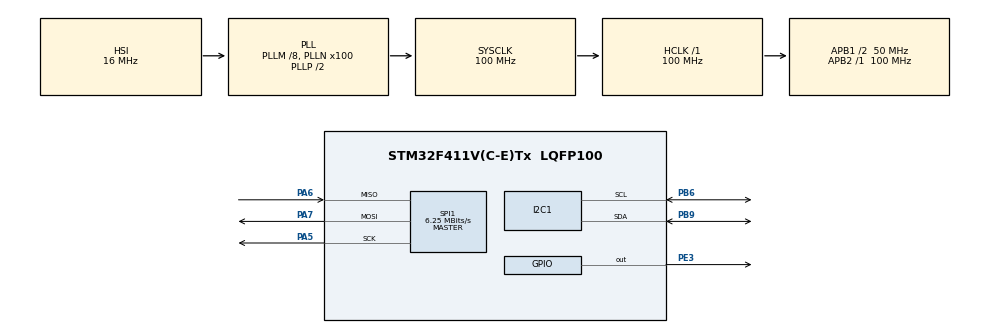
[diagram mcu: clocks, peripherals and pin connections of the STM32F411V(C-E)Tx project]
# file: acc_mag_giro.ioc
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Mcu.Family=STM32F4
Mcu.Name=STM32F411V(C-E)Tx
Mcu.Package=LQFP100
NVIC.I2C1_ER_IRQn=true\:2\:0\:true\:false\:true\:true
NVIC.I2C1_EV_IRQn=true\:2\:0\:true\:false\:true\:true
NVIC.PriorityGroup=NVIC_PRIORITYGROUP_4
NVIC.SPI1_IRQn=true\:1\:0\:true\:false\:true\:true
PA5.Mode=Full_Duplex_Master
PA5.Signal=SPI1_SCK
PA6.Mode=Full_Duplex_Master
PA6.Signal=SPI1_MISO
PA7.Mode=Full_Duplex_Master
PA7.Signal=SPI1_MOSI
PB6.Mode=I2C
PB6.Signal=I2C1_SCL
PB9.Mode=I2C
PB9.Signal=I2C1_SDA
PE3.PinState=GPIO_PIN_SET
PE3.Signal=GPIO_Output
ProjectManager.HeapSize=0x200
ProjectManager.StackSize=0x400
ProjectManager.TargetToolchain=SW4STM32
RCC.48MHZClocksFreq_Value=25000000
RCC.AHBFreq_Value=100000000
RCC.APB1CLKDivider=RCC_HCLK_DIV2
RCC.APB1Freq_Value=50000000
RCC.APB1TimFreq_Value=100000000
RCC.APB2Freq_Value=100000000
RCC.APB2TimFreq_Value=100000000
RCC.CortexFreq_Value=100000000
RCC.HCLKFreq_Value=100000000
RCC.HSE_VALUE=8000000
RCC.HSI_VALUE=16000000
RCC.LSE_VALUE=32768
RCC.PLLI2SM=5
RCC.PLLI2SN=200
RCC.PLLM=8
RCC.PLLN=100
RCC.PLLQ=8
RCC.SYSCLKFreq_VALUE=100000000
RCC.SYSCLKSource=RCC_SYSCLKSOURCE_PLLCLK
RCC.VCOOutputFreq_Value=200000000
SPI1.BaudRatePrescaler=SPI_BAUDRATEPRESCALER_16
SPI1.CalculateBaudRate=6.25 MBits/s
SPI1.Direction=SPI_DIRECTION_2LINES
SPI1.Mode=SPI_MODE_MASTER
SPI1.VirtualType=VM_MASTER
board=32F411EDISCOVERY

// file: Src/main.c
/**
  ******************************************************************************
  * @file           : main.c
  * @brief          : Main program body
  ******************************************************************************
  ** This notice applies to any and all portions of this file
  * that are not between comment pairs USER CODE BEGIN and
  * USER CODE END. Other portions of this file, whether
  * inserted by the user or by software development tools
  * are owned by their respective copyright owners.
  *
  * COPYRIGHT(c) 2018 STMicroelectronics
  *
  * Redistribution and use in source and binary forms, with or without modification,
  * are permitted provided that the following conditions are met:
  *   1. Redistributions of source code must retain the above copyright notice,
  *      this list of conditions and the following disclaimer.
  *   2. Redistributions in binary form must reproduce the above copyright notice,
  *      this list of conditions and the following disclaimer in the documentation
  *      and/or other materials provided with the distribution.
  *   3. Neither the name of STMicroelectronics nor the names of its contributors
  *      may be used to endorse or promote products derived from this software
  *      without specific prior written permission.
  *
  * THIS SOFTWARE IS PROVIDED BY THE COPYRIGHT HOLDERS AND CONTRIBUTORS "AS IS"
  * AND ANY EXPRESS OR IMPLIED WARRANTIES, INCLUDING, BUT NOT LIMITED TO, THE
  * IMPLIED WARRANTIES OF MERCHANTABILITY AND FITNESS FOR A PARTICULAR PURPOSE ARE
  * DISCLAIMED. IN NO EVENT SHALL THE COPYRIGHT HOLDER OR CONTRIBUTORS BE LIABLE
  * FOR ANY DIRECT, INDIRECT, INCIDENTAL, SPECIAL, EXEMPLARY, OR CONSEQUENTIAL
  * DAMAGES (INCLUDING, BUT NOT LIMITED TO, PROCUREMENT OF SUBSTITUTE GOODS OR
  * SERVICES; LOSS OF USE, DATA, OR PROFITS; OR BUSINESS INTERRUPTION) HOWEVER
  * CAUSED AND ON ANY THEORY OF LIABILITY, WHETHER IN CONTRACT, STRICT LIABILITY,
  * OR TORT (INCLUDING NEGLIGENCE OR OTHERWISE) ARISING IN ANY WAY OUT OF THE USE
  * OF THIS SOFTWARE, EVEN IF ADVISED OF THE POSSIBILITY OF SUCH DAMAGE.
  *
  ******************************************************************************
  */
#include "main.h"
#include "stm32f4xx_hal.h"
#include "i2c.h"
#include "spi.h"
#include "gpio.h"

/* USER CODE BEGIN Includes */
#include "display.h"
#include "accelerometer_define.h"
#include "giroscope_define.h"
#include <stdbool.h>
#include <math.h>
#include "spi_1.h"
/* USER CODE END Includes */

/* USER CODE BEGIN PV */
#define DEBOUNCE_TIME 100

static uint32_t lastPress = 0;
enum {ACCEL, MAGNET, GYRO, NUM_SENSOR} volatile type = ACCEL;
uint8_t a_config[] = {0x27, 0, 0, 0x80};
uint8_t m_config[] = {0x10, 0x20, 0};
uint8_t g_config[] = {L3GX_CTRL_REG1 | 0x40, 0xF, 0, 0, 0xA0};
int16_t a_data[3]={0};
uint8_t g_buf[7]={0};
int16_t * g_data = (uint16_t*)(g_buf + 1);
struct {float data[3]; float length;} max_val[NUM_SENSOR];
volatile bool acc_conf = false;
/* Private variables ---------------------------------------------------------*/

/* USER CODE END PV */

void SystemClock_Config(void);

/* USER CODE BEGIN PFP */
/* Private function prototypes -----------------------------------------------*/

/* USER CODE END PFP */

/* USER CODE BEGIN 0 */

void EXTI0_IRQHandler(void)
{
	__HAL_GPIO_EXTI_CLEAR_IT(GPIO_PIN_0);
	if (HAL_GetTick() - lastPress < DEBOUNCE_TIME)
		return;
	lastPress = HAL_GetTick();
}

void HAL_SYSTICK_Callback(void)
{
    if (HAL_GetTick() - lastPress == DEBOUNCE_TIME &&
	HAL_GPIO_ReadPin(GPIOA, GPIO_PIN_0) == GPIO_PIN_SET) {
	type = (type + 1) % NUM_SENSOR;
    }
}

void HAL_I2C_MemTxCpltCallback(I2C_HandleTypeDef *hi2c){
	// We finished setting up Accel
	acc_conf = true;
}

void HAL_I2C_MemRxCpltCallback(I2C_HandleTypeDef *hi2c){
	char str[100];
	float acc_g[3];
	if (type == ACCEL)
		for (int i = 0; i < 3; i++)
			acc_g[i] = (a_data[i] >> 4) / 1024.;
	else {
		acc_g[0] = ((int16_t) __REV16(a_data[0])) / 1100.;
		acc_g[1] = ((int16_t) __REV16(a_data[2])) / 1100.;
		acc_g[2] = ((int16_t) __REV16(a_data[1])) / 1100.;
	}
	float acc_mod = sqrt(acc_g[0]* acc_g[0] + acc_g[1]*acc_g[1] + acc_g[2]*acc_g[2]);
	float angle =  (atan2(acc_g[1],acc_g[0]) * 180) / 3.1415926535;
	if (acc_mod > max_val[type].length) {
		for (int i = 0; i < 3; i++)
			max_val[type].data[i] = acc_g[i];
		max_val[type].length = acc_mod;
	}
	display_set_write_position(0, 0);
	if (type == ACCEL)
		display_write("--АКСЕЛЕРОМЕТР--");
	else
		display_write("--МАГН╤ТОМЕТР--");
	display_set_write_position(3, 0);
	display_write("Максимальн╕ значення:");
	for (int i = 0; i < 3; i++) {
		display_set_write_position(1, 28 * i);
		snprintf(str, 100, "%6.3f%c", acc_g[i], type == ACCEL? 'g' : 'G');
		display_write(str);
	}
	for (int i = 0; i < 3; i++) {
		display_set_write_position(4, 28 * i);
		snprintf(str, 100, "%6.3f%c", max_val[type].data[i], type == ACCEL? 'g' : 'G');
		display_write(str);
	}
	display_set_write_position(2, 0);
	snprintf(str, 100, "%8.4f%c %8.4f°", acc_mod, type == ACCEL? 'g' : 'G', angle);
	display_write(str);
	display_set_write_position(5, 0);
	snprintf(str, 100, "%8.4f%c", max_val[type].length, type == ACCEL? 'g' : 'G');
	display_write(str);
}

void HAL_SPI_ErrorCallback(SPI_HandleTypeDef * hspi) {
	display_set_write_position(0, 0);
	for (int i = 0; i < 84; i++)
		display_putletter('-');
}

void HAL_SPI_RxCpltCallback(SPI_HandleTypeDef * hspi) {
	HAL_GPIO_WritePin(GPIOE, GPIO_PIN_3, GPIO_PIN_SET);
	char str[100];
	float gyro_g[3] = { g_data[0] * 70 / 95, g_data[1] * 70 / 95, g_data[2] * 70 / 95 };
	float gyro_mod = sqrt(gyro_g[0]* gyro_g[0] + gyro_g[1]*gyro_g[1] + gyro_g[2]*gyro_g[2]);
	if (gyro_mod > max_val[GYRO].length) {
		for (int i = 0; i < 3; i++)
			max_val[GYRO].data[i] = gyro_g[i];
		max_val[GYRO].length = gyro_mod;
	}
	display_set_write_position(0, 0);
	display_write("--  Г╤РОСКОП  --");
	display_set_write_position(3, 0);
	display_write("Максимальн╕ значення:");
	for (int i = 0; i < 3; i++) {
		display_set_write_position(1, 28 * i);
		snprintf(str, 100, "%7.3f", gyro_g[i] / 1000);
		display_write(str);
	}
	for (int i = 0; i < 3; i++) {
		display_set_write_position(4, 28 * i);
		snprintf(str, 100, "%7.2f", max_val[GYRO].data[i] / 1000);
		display_write(str);
	}
	display_set_write_position(2, 0);
	snprintf(str, 100, "%10.5f", gyro_mod / 1000);
	display_write(str);

	display_set_write_position(5, 0);
	snprintf(str, 100, "%10.5f", max_val[GYRO].length / 1000);
	display_write(str);
}

void HAL_SPI_TxRxCpltCallback(SPI_HandleTypeDef * hspi) {
	HAL_SPI_RxCpltCallback(hspi);
}
/* USER CODE END 0 */

int main(void)
{

  /* MCU Configuration----------------------------------------------------------*/

  /* Reset of all peripherals, Initializes the Flash interface and the Systick. */
  HAL_Init();

  /* Configure the system clock */
  SystemClock_Config();

  /* Initialize all configured peripherals */
  MX_GPIO_Init();
  MX_I2C1_Init();
  MX_SPI1_Init();
  /* USER CODE BEGIN 2 */
  GPIO_InitTypeDef GPIO_InitStruct;

  /* GPIO Ports Clock Enable */
  __HAL_RCC_GPIOA_CLK_ENABLE();
  GPIO_InitTypeDef conf = {
	  .Pin = GPIO_PIN_0,
	  .Mode = GPIO_MODE_IT_RISING,
	  .Pull = GPIO_PULLDOWN,
	  .Speed = GPIO_SPEED_FREQ_LOW,
  };
  HAL_GPIO_Init(GPIOA, &conf);
  HAL_NVIC_EnableIRQ(EXTI0_IRQn);
  HAL_NVIC_SetPriority(EXTI0_IRQn, 4, 0);

//  __HAL_RCC_GPIOD_CLK_ENABLE();

//  GPIO_InitStruct.Pin = GPIO_PIN_15;
//  GPIO_InitStruct.Mode = GPIO_MODE_OUTPUT_PP;
//  GPIO_InitStruct.Pull = GPIO_NOPULL;
//  GPIO_InitStruct.Speed = GPIO_SPEED_FREQ_LOW;
//  HAL_GPIO_Init(GPIOD, &GPIO_InitStruct);

  display_init();
  HAL_I2C_Mem_Write_IT(&hi2c1, ACC_ADDRESS<<1, CTRL_REG1_A | 0x80, 1, a_config, 4);
  HAL_GPIO_WritePin(GPIOE, GPIO_PIN_3, GPIO_PIN_RESET);
  HAL_SPI_Transmit_IT(&hspi1, g_config, 5);
  while (__HAL_SPI_GET_FLAG(&hspi1, SPI_SR_BSY) || !__HAL_SPI_GET_FLAG(&hspi1, SPI_SR_TXE));
  HAL_GPIO_WritePin(GPIOE, GPIO_PIN_3, GPIO_PIN_SET);
  while (!acc_conf)
	  __WFI();
  acc_conf = false;
  HAL_I2C_Mem_Write_IT(&hi2c1, MAG_ADDRESS<<1, CRA_REG_M, 1, m_config, 3);
  while (!acc_conf)
	  __WFI();

  /* USER CODE END 2 */

  /* Infinite loop */
  /* USER CODE BEGIN WHILE */
  while (1)
  {
	  display_clear();

	  switch (type) {
	  case ACCEL:
		  HAL_I2C_Mem_Read_IT(&hi2c1, ACC_ADDRESS<<1, OUT_X_L_A | 0x80, 1, (uint8_t *) a_data, 6);
		  break;
	  case MAGNET:
		  HAL_I2C_Mem_Read_IT(&hi2c1, MAG_ADDRESS<<1, OUT_X_H_M, 1, (uint8_t *) a_data, 6);
		  break;
	  case GYRO:
		  g_buf[0] = L3GX_OUT_X_L | 0xC0;
		  HAL_GPIO_WritePin(GPIOE, GPIO_PIN_3, GPIO_PIN_RESET);
		  HAL_SPI_TransmitReceive_IT(&hspi1, g_buf, g_buf, 7);
		  break;
	  }
//	  HAL_GPIO_WritePin(GPIOD, GPIO_PIN_15, GPIO_PIN_SET);

	  HAL_Delay(1);
	  while (HAL_GetTick() % 1000)
		  __WFI();
  /* USER CODE END WHILE */

  }

}

void SystemClock_Config(void)
{

  RCC_OscInitTypeDef RCC_OscInitStruct;
  RCC_ClkInitTypeDef RCC_ClkInitStruct;

    /**Configure the main internal regulator output voltage
    */
  __HAL_RCC_PWR_CLK_ENABLE();

  __HAL_PWR_VOLTAGESCALING_CONFIG(PWR_REGULATOR_VOLTAGE_SCALE1);

    /**Initializes the CPU, AHB and APB busses clocks
    */
  RCC_OscInitStruct.OscillatorType = RCC_OSCILLATORTYPE_HSI;
  RCC_OscInitStruct.HSIState = RCC_HSI_ON;
  RCC_OscInitStruct.HSICalibrationValue = 16;
  RCC_OscInitStruct.PLL.PLLState = RCC_PLL_ON;
  RCC_OscInitStruct.PLL.PLLSource = RCC_PLLSOURCE_HSI;
  RCC_OscInitStruct.PLL.PLLM = 8;
  RCC_OscInitStruct.PLL.PLLN = 100;
  RCC_OscInitStruct.PLL.PLLP = RCC_PLLP_DIV2;
  RCC_OscInitStruct.PLL.PLLQ = 8;
  if (HAL_RCC_OscConfig(&RCC_OscInitStruct) != HAL_OK)
  {
    _Error_Handler(__FILE__, __LINE__);
  }

    /**Initializes the CPU, AHB and APB busses clocks
    */
  RCC_ClkInitStruct.ClockType = RCC_CLOCKTYPE_HCLK|RCC_CLOCKTYPE_SYSCLK
                              |RCC_CLOCKTYPE_PCLK1|RCC_CLOCKTYPE_PCLK2;
  RCC_ClkInitStruct.SYSCLKSource = RCC_SYSCLKSOURCE_PLLCLK;
  RCC_ClkInitStruct.AHBCLKDivider = RCC_SYSCLK_DIV1;
  RCC_ClkInitStruct.APB1CLKDivider = RCC_HCLK_DIV2;
  RCC_ClkInitStruct.APB2CLKDivider = RCC_HCLK_DIV1;

  if (HAL_RCC_ClockConfig(&RCC_ClkInitStruct, FLASH_LATENCY_3) != HAL_OK)
  {
    _Error_Handler(__FILE__, __LINE__);
  }

    /**Configure the Systick interrupt time
    */
  HAL_SYSTICK_Config(HAL_RCC_GetHCLKFreq()/1000);

    /**Configure the Systick
    */
  HAL_SYSTICK_CLKSourceConfig(SYSTICK_CLKSOURCE_HCLK);

  /* SysTick_IRQn interrupt configuration */
  HAL_NVIC_SetPriority(SysTick_IRQn, 0, 0);
}

void _Error_Handler(char *file, int line)
{
  while(1)
  {
  }
}

/************************ (C) COPYRIGHT STMicroelectronics *****END OF FILE****/
